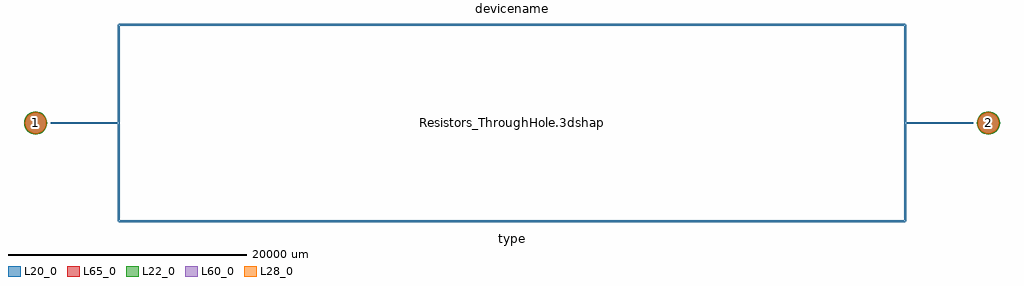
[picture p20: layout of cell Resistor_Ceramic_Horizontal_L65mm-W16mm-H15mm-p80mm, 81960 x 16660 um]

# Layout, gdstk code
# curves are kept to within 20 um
import gdstk
lib = gdstk.Library(unit=1e-6, precision=1e-09)
def P(c, l, *ps):  # polygons
    for p in ps: c.add(gdstk.Polygon(p, *l))
L20_0 = (20, 0)
L22_0 = (22, 0)
L28_0 = (28, 0)
L60_0 = (60, 0)
L65_0 = (65, 0)

resistor_ceramic_horizon = lib.new_cell('Resistor_Ceramic_Horizontal_L65mm-W16mm-H15mm-p80mm')
P(resistor_ceramic_horizon, L22_0, [(40980,0),(40905.783,373.116),(40694.429,689.429),(40378.116,900.783),(40005,975),(39631.884,900.783),(39315.571,689.429),(39104.217,373.116),(39030,0),(39104.217,-373.116),(39315.571,-689.429),(39631.884,-900.783),(40005,-975),(40378.116,-900.783),(40694.429,-689.429),(40905.783,-373.116)],
  [(-39030,0),(-39104.217,373.116),(-39315.571,689.429),(-39631.884,900.783),(-40005,975),(-40378.116,900.783),(-40694.429,689.429),(-40905.783,373.116),(-40980,0),(-40905.783,-373.116),(-40694.429,-689.429),(-40378.116,-900.783),(-40005,-975),(-39631.884,-900.783),(-39315.571,-689.429),(-39104.217,-373.116)])
P(resistor_ceramic_horizon, L28_0, [(40905,0),(40836.492,344.415),(40641.396,636.396),(40349.415,831.492),(40005,900),(39660.585,831.492),(39368.604,636.396),(39173.508,344.415),(39105,0),(39173.508,-344.415),(39368.604,-636.396),(39660.585,-831.492),(40005,-900),(40349.415,-831.492),(40641.396,-636.396),(40836.492,-344.415)],
  [(-39105,0),(-39173.508,344.415),(-39368.604,636.396),(-39660.585,831.492),(-40005,900),(-40349.415,831.492),(-40641.396,636.396),(-40836.492,344.415),(-40905,0),(-40836.492,-344.415),(-40641.396,-636.396),(-40349.415,-831.492),(-40005,-900),(-39660.585,-831.492),(-39368.604,-636.396),(-39173.508,-344.415)])
P(resistor_ceramic_horizon, L60_0, [(40905,0),(40836.492,344.415),(40641.396,636.396),(40349.415,831.492),(40005,900),(39660.585,831.492),(39368.604,636.396),(39173.508,344.415),(39105,0),(39173.508,-344.415),(39368.604,-636.396),(39660.585,-831.492),(40005,-900),(40349.415,-831.492),(40641.396,-636.396),(40836.492,-344.415)],
  [(-39105,0),(-39173.508,344.415),(-39368.604,636.396),(-39660.585,831.492),(-40005,900),(-40349.415,831.492),(-40641.396,636.396),(-40836.492,344.415),(-40905,0),(-40836.492,-344.415),(-40641.396,-636.396),(-40349.415,-831.492),(-40005,-900),(-39660.585,-831.492),(-39368.604,-636.396),(-39173.508,-344.415)])
P(resistor_ceramic_horizon, L65_0, [(40980,0),(40905.783,373.116),(40694.429,689.429),(40378.116,900.783),(40005,975),(39631.884,900.783),(39315.571,689.429),(39104.217,373.116),(39030,0),(39104.217,-373.116),(39315.571,-689.429),(39631.884,-900.783),(40005,-975),(40378.116,-900.783),(40694.429,-689.429),(40905.783,-373.116)],
  [(-39030,0),(-39104.217,373.116),(-39315.571,689.429),(-39631.884,900.783),(-40005,975),(-40378.116,900.783),(-40694.429,689.429),(-40905.783,373.116),(-40980,0),(-40905.783,-373.116),(-40694.429,-689.429),(-40378.116,-900.783),(-40005,-975),(-39631.884,-900.783),(-39315.571,-689.429),(-39104.217,-373.116)])
resistor_ceramic_horizon.add(gdstk.FlexPath([(33020,8255),(-33020,8255)], 149.998, ends="flush", simple_path=True, layer=20, datatype=0))  # L20_0
resistor_ceramic_horizon.add(gdstk.FlexPath([(33020,-8255),(33020,8255)], 149.998, ends="flush", simple_path=True, layer=20, datatype=0))  # L20_0
resistor_ceramic_horizon.add(gdstk.FlexPath([(-33020,-8255),(33020,-8255)], 149.998, ends="flush", simple_path=True, layer=20, datatype=0))  # L20_0
resistor_ceramic_horizon.add(gdstk.FlexPath([(-33020,8255),(-33020,-8255)], 149.998, ends="flush", simple_path=True, layer=20, datatype=0))  # L20_0
resistor_ceramic_horizon.add(gdstk.FlexPath([(-33020,0),(-38735,0)], 149.998, ends="flush", simple_path=True, layer=20, datatype=0))  # L20_0
resistor_ceramic_horizon.add(gdstk.FlexPath([(33020,0),(38735,0)], 149.998, ends="flush", simple_path=True, layer=20, datatype=0))  # L20_0
resistor_ceramic_horizon.add(gdstk.Label('Resistors_ThroughHole.3dshapes/Resistor_Ceramic_Horizontal_L65mm-W16mm-H15mm-p80mm.wrl', (0,0), layer=12, texttype=0))
resistor_ceramic_horizon.add(gdstk.Label('2', (40005,0), layer=28, texttype=0))
resistor_ceramic_horizon.add(gdstk.Label('1', (-40005,0), layer=28, texttype=0))
resistor_ceramic_horizon.add(gdstk.Label('type', (0,-10160), layer=9, texttype=0))
resistor_ceramic_horizon.add(gdstk.Label('devicename', (0,10160), layer=9, texttype=0))

lib.write_gds('Resistor_Ceramic_Horizontal_L65mm-W16mm-H15mm-p80mm.gds')
